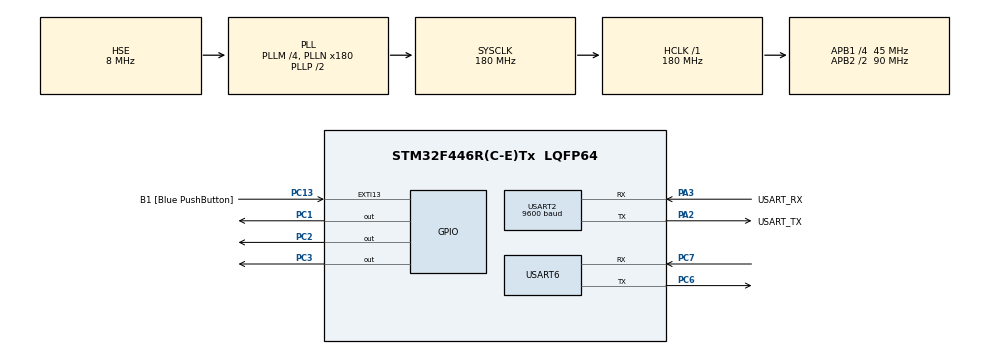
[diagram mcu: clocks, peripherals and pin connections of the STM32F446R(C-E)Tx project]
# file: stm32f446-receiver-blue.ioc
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Dma.Request0=USART6_RX
Dma.Request1=USART2_TX
Dma.USART2_TX.1.Direction=DMA_MEMORY_TO_PERIPH
Dma.USART2_TX.1.FIFOMode=DMA_FIFOMODE_DISABLE
Dma.USART2_TX.1.Instance=DMA1_Stream6
Dma.USART2_TX.1.MemDataAlignment=DMA_MDATAALIGN_BYTE
Dma.USART2_TX.1.MemInc=DMA_MINC_ENABLE
Dma.USART2_TX.1.Mode=DMA_NORMAL
Dma.USART2_TX.1.PeriphDataAlignment=DMA_PDATAALIGN_BYTE
Dma.USART2_TX.1.PeriphInc=DMA_PINC_DISABLE
Dma.USART2_TX.1.Priority=DMA_PRIORITY_LOW
Dma.USART6_RX.0.Direction=DMA_PERIPH_TO_MEMORY
Dma.USART6_RX.0.FIFOMode=DMA_FIFOMODE_DISABLE
Dma.USART6_RX.0.Instance=DMA2_Stream1
Dma.USART6_RX.0.MemDataAlignment=DMA_MDATAALIGN_BYTE
Dma.USART6_RX.0.MemInc=DMA_MINC_ENABLE
Dma.USART6_RX.0.Mode=DMA_CIRCULAR
Dma.USART6_RX.0.PeriphDataAlignment=DMA_PDATAALIGN_BYTE
Dma.USART6_RX.0.PeriphInc=DMA_PINC_DISABLE
Dma.USART6_RX.0.Priority=DMA_PRIORITY_LOW
Mcu.Family=STM32F4
Mcu.Name=STM32F446R(C-E)Tx
Mcu.Package=LQFP64
NVIC.DMA1_Stream6_IRQn=true\:0\:0\:false\:false\:true\:false\:true
NVIC.DMA2_Stream1_IRQn=true\:0\:0\:false\:false\:true\:false\:true
NVIC.PriorityGroup=NVIC_PRIORITYGROUP_0
NVIC.TIM6_DAC_IRQn=true\:0\:0\:false\:false\:true\:true\:true
NVIC.USART2_IRQn=true\:0\:0\:false\:false\:true\:true\:true
NVIC.USART6_IRQn=true\:0\:0\:false\:false\:true\:true\:true
PA13.GPIO_Label=TMS
PA13.Mode=Serial_Wire
PA13.Signal=SYS_JTMS-SWDIO
PA14.GPIO_Label=TCK
PA14.Mode=Serial_Wire
PA14.Signal=SYS_JTCK-SWCLK
PA2.GPIO_Label=USART_TX
PA2.Mode=Asynchronous
PA2.Signal=USART2_TX
PA3.GPIO_Label=USART_RX
PA3.Mode=Asynchronous
PA3.Signal=USART2_RX
PC1.PinState=GPIO_PIN_SET
PC1.Signal=GPIO_Output
PC13.GPIO_Label=B1 [Blue PushButton]
PC13.GPIO_ModeDefaultEXTI=GPIO_MODE_IT_FALLING
PC13.Signal=GPXTI13
PC14-OSC32_IN.Mode=LSE-External-Oscillator
PC14-OSC32_IN.Signal=RCC_OSC32_IN
PC15-OSC32_OUT.Mode=LSE-External-Oscillator
PC15-OSC32_OUT.Signal=RCC_OSC32_OUT
PC2.PinState=GPIO_PIN_SET
PC2.Signal=GPIO_Output
PC3.PinState=GPIO_PIN_SET
PC3.Signal=GPIO_Output
PC6.Mode=Asynchronous
PC6.Signal=USART6_TX
PC7.Mode=Asynchronous
PC7.Signal=USART6_RX
PH0-OSC_IN.Mode=HSE-External-Oscillator
PH0-OSC_IN.Signal=RCC_OSC_IN
PH1-OSC_OUT.Mode=HSE-External-Oscillator
PH1-OSC_OUT.Signal=RCC_OSC_OUT
ProjectManager.HeapSize=0x200
ProjectManager.StackSize=0x400
ProjectManager.TargetToolchain=STM32CubeIDE
RCC.48MHZClocksFreq_Value=84000000
RCC.AHBFreq_Value=180000000
RCC.APB1CLKDivider=RCC_HCLK_DIV4
RCC.APB1Freq_Value=45000000
RCC.APB1TimFreq_Value=90000000
RCC.APB2CLKDivider=RCC_HCLK_DIV2
RCC.APB2Freq_Value=90000000
RCC.APB2TimFreq_Value=180000000
RCC.CortexFreq_Value=180000000
RCC.FLatency-AdvancedSettings=FLASH_LATENCY_5
RCC.HCLKFreq_Value=180000000
RCC.HSE_VALUE=8000000
RCC.HSI_VALUE=16000000
RCC.PLLM=4
RCC.PLLN=180
RCC.PLLSourceVirtual=RCC_PLLSOURCE_HSE
RCC.SYSCLKFreq_VALUE=180000000
RCC.SYSCLKSource=RCC_SYSCLKSOURCE_PLLCLK
RCC.USBFreq_Value=180000000
RCC.VCOOutputFreq_Value=360000000
TIM6.Period=2500
TIM6.Prescaler=8400-1
USART2.BaudRate=9600
USART2.VirtualMode=VM_ASYNC
USART6.VirtualMode=VM_ASYNC
VP_TIM6_VS_ClockSourceINT.Mode=Enable_Timer
board=NUCLEO-F446RE

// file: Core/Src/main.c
/* USER CODE BEGIN Header */
/**
  ******************************************************************************
  * @file           : main.c
  * @brief          : Main program body
  ******************************************************************************
  * @attention
  *
  * <h2><center>&copy; Copyright (c) 2020 STMicroelectronics.
  * All rights reserved.</center></h2>
  *
  * This software component is licensed by ST under BSD 3-Clause license,
  * the "License"; You may not use this file except in compliance with the
  * License. You may obtain a copy of the License at:
  *                        opensource.org/licenses/BSD-3-Clause
  *
  ******************************************************************************
  */
/* USER CODE END Header */

#include "main.h"

/* USER CODE BEGIN Includes */
#include <string.h>
/* USER CODE END Includes */

/* USER CODE BEGIN PTD */
// �?ндекс комманды в массиве, пришедшего по радиоканалу
#define CommIndex 0
// Количество элементов в массиве для радиопередачи
#define RadioMaxBuff 42
// Количество элементов, приходящих с ЦКТ
#define MaxBuffOfCKT 45
// �?ндекс комманды в массиве, пришедшего c Linux
#define CommIndexLinux 42

//Массивы приема и передачи с модулемwm-sm-42
uint8_t Buff_rx[200];
uint8_t Buff_tx[200];
//CRC8
uint8_t CRC_8c=0;
//CRC16
uint16_t CRC_c=0;
// Массив приемопередачи по радиоканалу
uint8_t TX_RX_Radio[RadioMaxBuff];
// Буффер TX usart2
uint8_t BuffTx[MaxBuffOfCKT];
// Буффер RX usart2
uint8_t BuffRx[MaxBuffOfCKT];
// Счетчик количества пришедших байт с linux
uint8_t countRx=0;
// Счетчик количества пришедших байт с wm-sm-42
uint8_t countWm=0;
// Переменная для получения 1 байта, пришедшего по usartу
uint8_t data=0;
// Переменная для получения 1 байта, пришедшего с wm-sm-42
uint8_t dataWm=0;
// Маркер того, что пришли новые данные с usart
uint8_t Readflag=0;
// Маркер того, что пришли новые данные с wm-sm-42
uint8_t ReadflagWm=0;
// Последняя отправленная команда
uint8_t Com4Active=0;
// Переменные, отвечающие за режимы светодиодов
uint8_t LedMode=0;
// Для фильтрации помех с Usart
uint8_t ReadRdy=0;
// Текущее время в мс
uint32_t reciveTime=0;
// Запрет/разрешение на отправку команд
uint8_t AccessRadio=0;
// Переменная по таймауту
uint8_t RadioTimeoutRx=0;
// Задержка в мс
uint32_t Ms_Delay=0;
// Начало задержки
uint8_t Delay_start=0;

/* USER CODE END PTD */

TIM_HandleTypeDef htim6;

UART_HandleTypeDef huart2;
UART_HandleTypeDef huart6;
DMA_HandleTypeDef hdma_usart2_tx;
DMA_HandleTypeDef hdma_usart6_rx;

/* USER CODE BEGIN PV */
uint8_t buf_Reset[4]={"ATZ\r"};
uint8_t buff_ReadReg[16]={"AT+RREG=0x1D,15\r"};
uint8_t buf_paylen[18]={"AT+WREG=0x21,0x2A\r"}; // Запись в 0x22 регистр
uint8_t buf_preamlen[18]={"AT+WREG=0x20,0x08\r"}; // Запись в 0x21 регистр

uint8_t buf_1d[18]={"AT+WREG=0x1d,0x21\r"}; // Запись в 0x22 регистр
uint8_t buf_1e[18]={"AT+WREG=0x1e,0xB4\r"}; // Запись в 0x21 регистр

uint8_t buf_EchoOff[6]={"ATE=0\r"}; //выключение эха
uint8_t buf_com1[13]={"AT+DEFMODE=0\r"};
uint8_t buf_com2[38]={"AT+RF=14,868000000,11,0,4,0,8,0,1,0,0\r"};
uint8_t buf_com3_TX_mode[13]={"AT+DEFMODE=4\r"};
uint8_t buf_com3_RX_mode[13]={"AT+DEFMODE=5\r"};
uint8_t buf_com_Tx[94]={"AT+TXT=1,000000000000000000000000000000000000000000000000000000000000000000000000000000000000\r"};
/* USER CODE END PV */

void SystemClock_Config(void);
static void MX_GPIO_Init(void);
static void MX_DMA_Init(void);
static void MX_USART2_UART_Init(void);
static void MX_USART6_UART_Init(void);
static void MX_TIM6_Init(void);
/* USER CODE BEGIN PFP */

// Функция перевода массива чисел в массив Hex символов
void Data8_toMassHex(uint8_t* Data,uint8_t DataLen, uint8_t* pcBlock, uint8_t StrartMass)
{
	for(uint8_t j=0; j < DataLen; j++)
	{
		for (int8_t i = 1 + StrartMass; i >= StrartMass; i--)
		{
			pcBlock[i+j*2] = Data[j] % 16;
			if (pcBlock[i+j*2] >= 10)
			{
				pcBlock[i+j*2] += 55;
			}
			else pcBlock[i+j*2] += 48;
			Data[j] /= 16;
		}
	}
}
// Функция нахождения степени числа
int powx(int base, int exponent)
{
	int result = 1;
	for (int i=exponent; i > 0; i--)
	{
		result = result * base;
	}
	return result;
}
// Функция перевода массива символов Hex в массив чисел
void Mass_toData8(uint8_t *pcBlock,uint8_t* data8, unsigned short len) //rx_buffer,rx_in-2
{
	unsigned short sum = 0;
	int x = 0;
	for(uint8_t j=0;j<len;j++)
	{
	for (int i = 0; i < 2; i++)
	{
		if (pcBlock[2 - i - 1+j*2] > 57)
		{
			x = (pcBlock[2 - i - 1+j*2] - 55);
		}
		else
		{
			x = (pcBlock[2 - i - 1+j*2] - 48);
		}
		sum += x * powx(16, i);
	}
	data8[j]=sum;
	sum=0;
	}

}
// �?нициализация wm-sm-42
void WMSM42Init(void)
{
	//Начальная инфа
	HAL_UART_Receive_IT(&huart6, &dataWm, 1);
	HAL_Delay(2000);
	ReadflagWm=0;
	countWm=0;
	for(uint8_t i=0;i<20;i++)
		Buff_rx[i]=0;
	HAL_UART_Transmit(&huart6, buf_EchoOff, sizeof(buf_EchoOff),100); //отключаем эхо
	while(dataWm!='#');
	//HAL_Delay(100);
	ReadflagWm=0;
	countWm=0;
	for(uint8_t i=0;i<20;i++)
		Buff_rx[i]=0;
	HAL_UART_Transmit(&huart6, buf_com1, sizeof(buf_com1),100); // Спящий режим
	while(dataWm!='#');
	//HAL_Delay(100);
	ReadflagWm=0;
	countWm=0;
	for(uint8_t i=0;i<20;i++)
		Buff_rx[i]=0;
	HAL_UART_Transmit(&huart6, buf_com2, sizeof(buf_com2),100); // Настройки
	while(dataWm!='#');
	//HAL_Delay(100);
	ReadflagWm=0;
	countWm=0;
	for(uint8_t i=0;i<20;i++)
		Buff_rx[i]=0;
}
// Вход в режим передачи wm-sm-42
void WMSM42TXmode(void)
{
	HAL_UART_Transmit(&huart6, buf_com3_TX_mode, sizeof(buf_com3_TX_mode),100);
	//HAL_Delay(100);
	while(dataWm!='#');
	ReadflagWm=0;
	countWm=0;
	for(uint8_t i=0;i<20;i++)
		Buff_rx[i]=0;
}
// Вход в режим приема wm-sm-42
void WMSM42RXmode(void)
{
	HAL_UART_Transmit(&huart6, buf_com3_RX_mode, sizeof(buf_com3_RX_mode),100);
	//HAL_Delay(10);
	while(dataWm!='#');
	ReadflagWm=0;
	countWm=0;
	HAL_UART_Transmit(&huart6, buf_paylen, sizeof(buf_paylen),100); // Длина посылки
	//HAL_Delay(10);
	while(dataWm!='#');
	ReadflagWm=0;
	countWm=0;
	HAL_UART_Transmit(&huart6, buf_preamlen, sizeof(buf_preamlen),100); // Длина преамбулы
	while(dataWm!='#');
	HAL_Delay(10);
	ReadflagWm=0;
	countWm=0;
}
// Передача пакета по радиоканалу
void WMSM42TXsend(uint8_t* mass)
{
	Data8_toMassHex(mass,42,buf_com_Tx,9);
	HAL_UART_Transmit(&huart6, buf_com_Tx, sizeof(buf_com_Tx),100);
	HAL_Delay(1500);
	ReadflagWm=0;
	countWm=0;
}
// Получение полезной части из поссылки, пришедшей по радио
void WMSM42GetPacket(uint8_t* mass)
{
	Mass_toData8(&mass[6],TX_RX_Radio,42);
}

// Таблица CRC16
const unsigned short Crc16Table[256] = {
    0x0000, 0x1021, 0x2042, 0x3063, 0x4084, 0x50A5, 0x60C6, 0x70E7,
    0x8108, 0x9129, 0xA14A, 0xB16B, 0xC18C, 0xD1AD, 0xE1CE, 0xF1EF,
    0x1231, 0x0210, 0x3273, 0x2252, 0x52B5, 0x4294, 0x72F7, 0x62D6,
    0x9339, 0x8318, 0xB37B, 0xA35A, 0xD3BD, 0xC39C, 0xF3FF, 0xE3DE,
    0x2462, 0x3443, 0x0420, 0x1401, 0x64E6, 0x74C7, 0x44A4, 0x5485,
    0xA56A, 0xB54B, 0x8528, 0x9509, 0xE5EE, 0xF5CF, 0xC5AC, 0xD58D,
    0x3653, 0x2672, 0x1611, 0x0630, 0x76D7, 0x66F6, 0x5695, 0x46B4,
    0xB75B, 0xA77A, 0x9719, 0x8738, 0xF7DF, 0xE7FE, 0xD79D, 0xC7BC,
    0x48C4, 0x58E5, 0x6886, 0x78A7, 0x0840, 0x1861, 0x2802, 0x3823,
    0xC9CC, 0xD9ED, 0xE98E, 0xF9AF, 0x8948, 0x9969, 0xA90A, 0xB92B,
    0x5AF5, 0x4AD4, 0x7AB7, 0x6A96, 0x1A71, 0x0A50, 0x3A33, 0x2A12,
    0xDBFD, 0xCBDC, 0xFBBF, 0xEB9E, 0x9B79, 0x8B58, 0xBB3B, 0xAB1A,
    0x6CA6, 0x7C87, 0x4CE4, 0x5CC5, 0x2C22, 0x3C03, 0x0C60, 0x1C41,
    0xEDAE, 0xFD8F, 0xCDEC, 0xDDCD, 0xAD2A, 0xBD0B, 0x8D68, 0x9D49,
    0x7E97, 0x6EB6, 0x5ED5, 0x4EF4, 0x3E13, 0x2E32, 0x1E51, 0x0E70,
    0xFF9F, 0xEFBE, 0xDFDD, 0xCFFC, 0xBF1B, 0xAF3A, 0x9F59, 0x8F78,
    0x9188, 0x81A9, 0xB1CA, 0xA1EB, 0xD10C, 0xC12D, 0xF14E, 0xE16F,
    0x1080, 0x00A1, 0x30C2, 0x20E3, 0x5004, 0x4025, 0x7046, 0x6067,
    0x83B9, 0x9398, 0xA3FB, 0xB3DA, 0xC33D, 0xD31C, 0xE37F, 0xF35E,
    0x02B1, 0x1290, 0x22F3, 0x32D2, 0x4235, 0x5214, 0x6277, 0x7256,
    0xB5EA, 0xA5CB, 0x95A8, 0x8589, 0xF56E, 0xE54F, 0xD52C, 0xC50D,
    0x34E2, 0x24C3, 0x14A0, 0x0481, 0x7466, 0x6447, 0x5424, 0x4405,
    0xA7DB, 0xB7FA, 0x8799, 0x97B8, 0xE75F, 0xF77E, 0xC71D, 0xD73C,
    0x26D3, 0x36F2, 0x0691, 0x16B0, 0x6657, 0x7676, 0x4615, 0x5634,
    0xD94C, 0xC96D, 0xF90E, 0xE92F, 0x99C8, 0x89E9, 0xB98A, 0xA9AB,
    0x5844, 0x4865, 0x7806, 0x6827, 0x18C0, 0x08E1, 0x3882, 0x28A3,
    0xCB7D, 0xDB5C, 0xEB3F, 0xFB1E, 0x8BF9, 0x9BD8, 0xABBB, 0xBB9A,
    0x4A75, 0x5A54, 0x6A37, 0x7A16, 0x0AF1, 0x1AD0, 0x2AB3, 0x3A92,
    0xFD2E, 0xED0F, 0xDD6C, 0xCD4D, 0xBDAA, 0xAD8B, 0x9DE8, 0x8DC9,
    0x7C26, 0x6C07, 0x5C64, 0x4C45, 0x3CA2, 0x2C83, 0x1CE0, 0x0CC1,
    0xEF1F, 0xFF3E, 0xCF5D, 0xDF7C, 0xAF9B, 0xBFBA, 0x8FD9, 0x9FF8,
    0x6E17, 0x7E36, 0x4E55, 0x5E74, 0x2E93, 0x3EB2, 0x0ED1, 0x1EF0
};
// Расчет CRC16
unsigned short Crc16(unsigned char * pcBlock, unsigned short len)
{
    unsigned short crc = 0xFFFF;

    while (len--)
        crc = (crc << 8) ^ Crc16Table[(crc >> 8) ^ *pcBlock++];

    return crc;
}

// Таблица CRC8
const unsigned char Crc8Table[256] = {
    0x00, 0x31, 0x62, 0x53, 0xC4, 0xF5, 0xA6, 0x97,
    0xB9, 0x88, 0xDB, 0xEA, 0x7D, 0x4C, 0x1F, 0x2E,
    0x43, 0x72, 0x21, 0x10, 0x87, 0xB6, 0xE5, 0xD4,
    0xFA, 0xCB, 0x98, 0xA9, 0x3E, 0x0F, 0x5C, 0x6D,
    0x86, 0xB7, 0xE4, 0xD5, 0x42, 0x73, 0x20, 0x11,
    0x3F, 0x0E, 0x5D, 0x6C, 0xFB, 0xCA, 0x99, 0xA8,
    0xC5, 0xF4, 0xA7, 0x96, 0x01, 0x30, 0x63, 0x52,
    0x7C, 0x4D, 0x1E, 0x2F, 0xB8, 0x89, 0xDA, 0xEB,
    0x3D, 0x0C, 0x5F, 0x6E, 0xF9, 0xC8, 0x9B, 0xAA,
    0x84, 0xB5, 0xE6, 0xD7, 0x40, 0x71, 0x22, 0x13,
    0x7E, 0x4F, 0x1C, 0x2D, 0xBA, 0x8B, 0xD8, 0xE9,
    0xC7, 0xF6, 0xA5, 0x94, 0x03, 0x32, 0x61, 0x50,
    0xBB, 0x8A, 0xD9, 0xE8, 0x7F, 0x4E, 0x1D, 0x2C,
    0x02, 0x33, 0x60, 0x51, 0xC6, 0xF7, 0xA4, 0x95,
    0xF8, 0xC9, 0x9A, 0xAB, 0x3C, 0x0D, 0x5E, 0x6F,
    0x41, 0x70, 0x23, 0x12, 0x85, 0xB4, 0xE7, 0xD6,
    0x7A, 0x4B, 0x18, 0x29, 0xBE, 0x8F, 0xDC, 0xED,
    0xC3, 0xF2, 0xA1, 0x90, 0x07, 0x36, 0x65, 0x54,
    0x39, 0x08, 0x5B, 0x6A, 0xFD, 0xCC, 0x9F, 0xAE,
    0x80, 0xB1, 0xE2, 0xD3, 0x44, 0x75, 0x26, 0x17,
    0xFC, 0xCD, 0x9E, 0xAF, 0x38, 0x09, 0x5A, 0x6B,
    0x45, 0x74, 0x27, 0x16, 0x81, 0xB0, 0xE3, 0xD2,
    0xBF, 0x8E, 0xDD, 0xEC, 0x7B, 0x4A, 0x19, 0x28,
    0x06, 0x37, 0x64, 0x55, 0xC2, 0xF3, 0xA0, 0x91,
    0x47, 0x76, 0x25, 0x14, 0x83, 0xB2, 0xE1, 0xD0,
    0xFE, 0xCF, 0x9C, 0xAD, 0x3A, 0x0B, 0x58, 0x69,
    0x04, 0x35, 0x66, 0x57, 0xC0, 0xF1, 0xA2, 0x93,
    0xBD, 0x8C, 0xDF, 0xEE, 0x79, 0x48, 0x1B, 0x2A,
    0xC1, 0xF0, 0xA3, 0x92, 0x05, 0x34, 0x67, 0x56,
    0x78, 0x49, 0x1A, 0x2B, 0xBC, 0x8D, 0xDE, 0xEF,
    0x82, 0xB3, 0xE0, 0xD1, 0x46, 0x77, 0x24, 0x15,
    0x3B, 0x0A, 0x59, 0x68, 0xFF, 0xCE, 0x9D, 0xAC
};
// Расчет CRC8
unsigned char Crc8(unsigned char *pcBlock, unsigned char len)
{
    unsigned char crc = 0xFF;

    while (len--)
        crc = Crc8Table[crc ^ *pcBlock++];

    return crc;
}

// Функция передачи по радиоканалу
void CommandToRadio(uint8_t command)
{
	// Вход в режим передачи
	WMSM42TXmode();
	// Обнуляем массив
	for(uint8_t i=0;i<RadioMaxBuff;i++)
	{
		TX_RX_Radio[i]=0;
	}
	if(command==3)
	{
		// Заносим задержку в секундах
		TX_RX_Radio[1]=BuffRx[43];
	}
    // Заносим команду
	TX_RX_Radio[CommIndex]=command;
	//Подсчет CRC16
	CRC_c=Crc16(TX_RX_Radio,RadioMaxBuff-2);
	TX_RX_Radio[RadioMaxBuff-2]=(uint8_t)(CRC_c>>8);
	TX_RX_Radio[RadioMaxBuff-1]=(uint8_t)CRC_c;
    // Отправка посылки
	WMSM42TXsend(TX_RX_Radio);
}
// Отправка команды на Linux
void Command_to_Linux(uint8_t cmd)
{
	for(uint8_t i=0;i<MaxBuffOfCKT;i++)
		BuffTx[i]=0;
	for(uint8_t i=0;i<MaxBuffOfCKT-6;i++)
		BuffTx[i+4]=TX_RX_Radio[i+1];
	BuffTx[0]=0x7C;
	BuffTx[1]=0x6E;
	BuffTx[2]=0xA1;
	BuffTx[3]=0x2C;
	BuffTx[42]=cmd;
	BuffTx[44]=Crc8(BuffTx,MaxBuffOfCKT-1);
	HAL_UART_Transmit(&huart2, BuffTx, MaxBuffOfCKT,100);
}
// Отправка 4 команды по радио
void Command4_send(void)
{
	if(Com4Active==1) // Если разрешена 4 команда
	{
		// Посылка принята успешно, отправляем запрос на данные, если нет команд с Linux
		if(Readflag!=1)
		{
			LedMode=1; // Режим мигания - посылка передается
			CommandToRadio(4);
			// Ожидаем команду
			WMSM42RXmode();
			// Запуск таймера для отслеживания таймаута
			Delay_start=1;
			Ms_Delay=0;
			AccessRadio=1;
		} else AccessRadio=0;
	} else AccessRadio=0;
}
/* USER CODE END PFP */

int main(void)
{

  /* MCU Configuration--------------------------------------------------------*/

  /* Reset of all peripherals, Initializes the Flash interface and the Systick. */
  HAL_Init();

  /* Configure the system clock */
  SystemClock_Config();

  /* Initialize all configured peripherals */
  MX_GPIO_Init();
  MX_DMA_Init();
  MX_USART2_UART_Init();
  MX_USART6_UART_Init();
  MX_TIM6_Init();
  /* USER CODE BEGIN 2 */
  // �?ндикация включения УС�? ПРД
  HAL_GPIO_WritePin(GPIOC, GPIO_PIN_1, GPIO_PIN_RESET);
  HAL_Delay(300);
  HAL_GPIO_WritePin(GPIOC, GPIO_PIN_2, GPIO_PIN_RESET);
  HAL_Delay(300);
  HAL_GPIO_WritePin(GPIOC, GPIO_PIN_3, GPIO_PIN_RESET);
  HAL_Delay(300);
  // �?нициализация wm-sm-42
  WMSM42Init();
  // Запуск приема команд с Linux
  HAL_UART_Receive_IT(&huart2, &data, 1);
  // Запуск таймера для работы светодиода
  HAL_TIM_Base_Start_IT(&htim6);

  /* USER CODE END 2 */

  /* Infinite loop */
  /* USER CODE BEGIN WHILE */
  while (1)
  {
		// Фильтрация помех 1 разъема
		if((HAL_GetTick()-reciveTime >200) && ReadRdy) // Если пришел 1 байт и в течении секунды больше ничего не пришло, считаем, что мы поймали помеху
		{
			ReadRdy=0;
			HAL_UART_Abort(&huart2);
			HAL_UART_Receive_IT(&huart2, &data, 1);
			countRx=0;
		}
		// Пришла какая-то посылка по linux
		if(Readflag==1 && AccessRadio==0)
		{
			Readflag=0;
			HAL_GPIO_WritePin(GPIOC, GPIO_PIN_3, GPIO_PIN_RESET);
			CRC_8c=BuffRx[MaxBuffOfCKT-1];
			if(CRC_8c==Crc8(BuffRx,MaxBuffOfCKT-1)) // если CRC совпало
			{
				switch(BuffRx[CommIndexLinux])
				{
					case 1:
					LedMode=1; // Режим мигания - посылка передается
					CommandToRadio(1);  // Команда начала записи: Создаем новый файл и начинаем прием данных
					// Ожидаем команду
					WMSM42RXmode();
					// Запуск таймера для отслеживания таймаута
					Delay_start=1;
					Ms_Delay=0;
					// Занимаем радиоканал
					AccessRadio=1;
					break;
					case 2:
					LedMode=1; // Режим мигания - посылка передается
					CommandToRadio(2); // Команда открытия клапана
					// Ожидаем команду
					WMSM42RXmode();
					// Запуск таймера для отслеживания таймаута
					Delay_start=1;
					Ms_Delay=0;
					// Занимаем радиоканал
					AccessRadio=1;
					break;
					case 3:
					LedMode=1; // Режим мигания - посылка передается
					CommandToRadio(3); // Команда запуска двигателя
					// Ожидаем команду
					WMSM42RXmode();
					// Запуск таймера для отслеживания таймаута
					Delay_start=1;
					Ms_Delay=0;
					// Занимаем радиоканал
					AccessRadio=1;
					break;
					case 4:  // Внутренняя команда (запрос данных с ЦКТ)
					break;
					case 5:
					LedMode=1; // Режим мигания - посылка передается
					CommandToRadio(5); // Команда закрытия файла на SD и запрет записи на SD
					// Ожидаем команду
					WMSM42RXmode();
					// Запуск таймера для отслеживания таймаута
					Delay_start=1;
					Ms_Delay=0;
					// Занимаем радиоканал
					AccessRadio=1;
					break;
					case 6:
					LedMode=1; // Режим мигания - посылка передается
					CommandToRadio(6); // Команда закрытия клапана
					// Ожидаем команду
					WMSM42RXmode();
					// Запуск таймера для отслеживания таймаута
					Delay_start=1;
					Ms_Delay=0;
					// Занимаем радиоканал
					AccessRadio=1;
					break;
					case 7: // Подача еденицы на оптопару на закрытие двигателя
					LedMode=1; // Режим мигания - посылка передается
					CommandToRadio(7); // Команда Подача еденицы на оптопару на закрытие двигателя
					// Ожидаем команду
					WMSM42RXmode();
					// Запуск таймера для отслеживания таймаута
					Delay_start=1;
					Ms_Delay=0;
					// Занимаем радиоканал
					AccessRadio=1;
					break;
					case 8: // Снятие еденицы с оптопары на закрытие двигателя
					LedMode=1; // Режим мигания - посылка передается
					CommandToRadio(8); // Команда Снятие еденицы с оптопары на закрытие двигателя
					// Ожидаем команду
					WMSM42RXmode();
					// Запуск таймера для отслеживания таймаута
					Delay_start=1;
					Ms_Delay=0;
					// Занимаем радиоканал
					AccessRadio=1;
					break;
				}
			} else // Если CRC8 не совпало продолжаем отправлять 4 команду, если она отправлялась до этого
			{
				if(Com4Active==1) // Если мы попадаем сюда во время приема данных
				{
					LedMode=1; // Режим мигания - посылка передается
					CommandToRadio(4);
					// Ожидаем команду
					WMSM42RXmode();
					// Запуск таймера для отслеживания таймаута
					Delay_start=1;
					Ms_Delay=0;
					// Занимаем радиоканал
					AccessRadio=1;
				}
			}
			// Продолжаем ожидать посылку с Linux
			countRx=0;
			HAL_UART_Abort(&huart2);
			HAL_UART_Receive_IT(&huart2, &data, 1);
		}

		// Прерывание по приему по радиоканалу
		if(ReadflagWm==1)
		{
			ReadflagWm=0;
			//Раскрываем посылку
			WMSM42GetPacket(Buff_rx);
			// Считаем CRC
			CRC_c=(TX_RX_Radio[RadioMaxBuff-2]<<8)+TX_RX_Radio[RadioMaxBuff-1];

			if(CRC_c==Crc16(TX_RX_Radio, RadioMaxBuff-2)) // Если CRC16 совпало
			{
				// Останавливаем таймер
				Delay_start=0;
				Ms_Delay=0;
				switch(TX_RX_Radio[CommIndex])
				{
					case 1:   // Команда начала записи: Создаем файл
					LedMode=0; // посылка принята (просто зажигаем светодиод)
					HAL_GPIO_WritePin(GPIOC, GPIO_PIN_1, GPIO_PIN_RESET);
					HAL_GPIO_WritePin(GPIOC, GPIO_PIN_2, GPIO_PIN_RESET);
					// Посылка принята успешно, отправляем запрос на данные, если нет команд с Linux
					if(Readflag!=1)
					{
						LedMode=1; // Режим мигания - посылка передается
						Com4Active=1; // 4 команда будет посылаться всегда
						CommandToRadio(4);
						// Ожидаем команду
						WMSM42RXmode();
						// Запуск таймера для отслеживания таймаута
						Delay_start=1;
						Ms_Delay=0;
						AccessRadio=1;
					} else AccessRadio=0;
					break;
					case 2:   // Команда открытия клапана
					LedMode=0; // посылка принята (просто зажигаем светодиод)
					HAL_GPIO_WritePin(GPIOC, GPIO_PIN_1, GPIO_PIN_RESET);
					HAL_GPIO_WritePin(GPIOC, GPIO_PIN_2, GPIO_PIN_RESET);
					Command_to_Linux(2);
					Command4_send();
					break;
					case 3:   // Команда запуска двигателя
					LedMode=0; // посылка принята (просто зажигаем светодиод)
					HAL_GPIO_WritePin(GPIOC, GPIO_PIN_1, GPIO_PIN_RESET);
					HAL_GPIO_WritePin(GPIOC, GPIO_PIN_2, GPIO_PIN_RESET);
					Command_to_Linux(3);
					Command4_send();
					break;
					case 4:   // Команда запроса данных с ЦКТ
					LedMode=0; // посылка принята (просто зажигаем светодиод)
					HAL_GPIO_WritePin(GPIOC, GPIO_PIN_1, GPIO_PIN_RESET);
					HAL_GPIO_WritePin(GPIOC, GPIO_PIN_2, GPIO_PIN_RESET);
					// Пересылаем принятый пакет на linux
					Command_to_Linux(1);
					// Посылка принята успешно, отправляем запрос на данные
					if(Com4Active==1 && Readflag!=1  ) // Если нет запрета на 4 команду, то отправляем ее
					{
						LedMode=1; // Режим мигания - посылка передается
						CommandToRadio(4);
						// Ожидаем команду
						WMSM42RXmode();
						// Запуск таймера для отслеживания таймаута
						Delay_start=1;
						Ms_Delay=0;
						AccessRadio=1;
					} else AccessRadio=0;
					// радиоканал не занят
					break;
					case 5:   // Команда закрытия файла на SD и запрет записи на SD
					LedMode=0; // посылка принята (просто зажигаем светодиод)
					HAL_GPIO_WritePin(GPIOC, GPIO_PIN_1, GPIO_PIN_RESET);
					HAL_GPIO_WritePin(GPIOC, GPIO_PIN_2, GPIO_PIN_RESET);
					Com4Active=0; // запрещаем отправку 4 команды
					Command_to_Linux(5);
					// радиоканал не занят
					AccessRadio=0;
					break;
					case 6:  // Команда закрытия клапана
					LedMode=0; // посылка принята (просто зажигаем светодиод)
					HAL_GPIO_WritePin(GPIOC, GPIO_PIN_1, GPIO_PIN_RESET);
					HAL_GPIO_WritePin(GPIOC, GPIO_PIN_2, GPIO_PIN_RESET);
					Command_to_Linux(6);
					Command4_send();
					break;
					case 7: //Подача еденицы на оптопару на закрытие двигателя
					LedMode=0; // посылка принята (просто зажигаем светодиод)
					HAL_GPIO_WritePin(GPIOC, GPIO_PIN_1, GPIO_PIN_RESET);
					HAL_GPIO_WritePin(GPIOC, GPIO_PIN_2, GPIO_PIN_RESET);
					Command_to_Linux(7);
					Command4_send();
					break;
					case 8: // Снятие еденицы с оптопары на закрытие двигателя
					LedMode=0; // посылка принята (просто зажигаем светодиод)
					HAL_GPIO_WritePin(GPIOC, GPIO_PIN_1, GPIO_PIN_RESET);
					HAL_GPIO_WritePin(GPIOC, GPIO_PIN_2, GPIO_PIN_RESET);
					Command_to_Linux(8);
					Command4_send();
					break;
				}
			}
		}

	// Если радиосигнал не был принят (таймаут)
	if(RadioTimeoutRx==1)
	{
		// Останавливаем таймер
		Delay_start=0;
		Ms_Delay=0;
		RadioTimeoutRx=0;
		LedMode=0; // посылка пропущена (тушим светодиод)
		HAL_GPIO_WritePin(GPIOC, GPIO_PIN_1, GPIO_PIN_SET);
		HAL_GPIO_WritePin(GPIOC, GPIO_PIN_2, GPIO_PIN_SET);
		// Отправляем еще один запрос на данные, иначе просто ожидаем команд с linux
		if(Com4Active==1 && Readflag!= 1)
		{
			LedMode=1; // Режим мигания - посылка передается
			CommandToRadio(4); // Команда запроса данных
			// Ожидаем команду
			WMSM42RXmode();
			// Запуск таймера для отслеживания таймаута
			Delay_start=1;
			Ms_Delay=0;
			AccessRadio=1 ;
		} else   AccessRadio=0;
	}

    /* USER CODE END WHILE */

  }
}

void SystemClock_Config(void)
{
  RCC_OscInitTypeDef RCC_OscInitStruct = {0};
  RCC_ClkInitTypeDef RCC_ClkInitStruct = {0};

  /** Configure the main internal regulator output voltage
  */
  __HAL_RCC_PWR_CLK_ENABLE();
  __HAL_PWR_VOLTAGESCALING_CONFIG(PWR_REGULATOR_VOLTAGE_SCALE1);
  /** Initializes the CPU, AHB and APB busses clocks
  */
  RCC_OscInitStruct.OscillatorType = RCC_OSCILLATORTYPE_HSE;
  RCC_OscInitStruct.HSEState = RCC_HSE_ON;
  RCC_OscInitStruct.PLL.PLLState = RCC_PLL_ON;
  RCC_OscInitStruct.PLL.PLLSource = RCC_PLLSOURCE_HSE;
  RCC_OscInitStruct.PLL.PLLM = 4;
  RCC_OscInitStruct.PLL.PLLN = 180;
  RCC_OscInitStruct.PLL.PLLP = RCC_PLLP_DIV2;
  RCC_OscInitStruct.PLL.PLLQ = 2;
  RCC_OscInitStruct.PLL.PLLR = 2;
  if (HAL_RCC_OscConfig(&RCC_OscInitStruct) != HAL_OK)
  {
    Error_Handler();
  }
  /** Activate the Over-Drive mode
  */
  if (HAL_PWREx_EnableOverDrive() != HAL_OK)
  {
    Error_Handler();
  }
  /** Initializes the CPU, AHB and APB busses clocks
  */
  RCC_ClkInitStruct.ClockType = RCC_CLOCKTYPE_HCLK|RCC_CLOCKTYPE_SYSCLK
                              |RCC_CLOCKTYPE_PCLK1|RCC_CLOCKTYPE_PCLK2;
  RCC_ClkInitStruct.SYSCLKSource = RCC_SYSCLKSOURCE_PLLCLK;
  RCC_ClkInitStruct.AHBCLKDivider = RCC_SYSCLK_DIV1;
  RCC_ClkInitStruct.APB1CLKDivider = RCC_HCLK_DIV4;
  RCC_ClkInitStruct.APB2CLKDivider = RCC_HCLK_DIV2;

  if (HAL_RCC_ClockConfig(&RCC_ClkInitStruct, FLASH_LATENCY_5) != HAL_OK)
  {
    Error_Handler();
  }
}

static void MX_TIM6_Init(void)
{

  TIM_MasterConfigTypeDef sMasterConfig = {0};

  htim6.Instance = TIM6;
  htim6.Init.Prescaler = 8400-1;
  htim6.Init.CounterMode = TIM_COUNTERMODE_UP;
  htim6.Init.Period = 2500;
  htim6.Init.AutoReloadPreload = TIM_AUTORELOAD_PRELOAD_DISABLE;
  if (HAL_TIM_Base_Init(&htim6) != HAL_OK)
  {
    Error_Handler();
  }
  sMasterConfig.MasterOutputTrigger = TIM_TRGO_RESET;
  sMasterConfig.MasterSlaveMode = TIM_MASTERSLAVEMODE_DISABLE;
  if (HAL_TIMEx_MasterConfigSynchronization(&htim6, &sMasterConfig) != HAL_OK)
  {
    Error_Handler();
  }

}

static void MX_USART2_UART_Init(void)
{

  huart2.Instance = USART2;
  huart2.Init.BaudRate = 9600;
  huart2.Init.WordLength = UART_WORDLENGTH_8B;
  huart2.Init.StopBits = UART_STOPBITS_1;
  huart2.Init.Parity = UART_PARITY_NONE;
  huart2.Init.Mode = UART_MODE_TX_RX;
  huart2.Init.HwFlowCtl = UART_HWCONTROL_NONE;
  huart2.Init.OverSampling = UART_OVERSAMPLING_16;
  if (HAL_UART_Init(&huart2) != HAL_OK)
  {
    Error_Handler();
  }

}

static void MX_USART6_UART_Init(void)
{

  huart6.Instance = USART6;
  huart6.Init.BaudRate = 115200;
  huart6.Init.WordLength = UART_WORDLENGTH_8B;
  huart6.Init.StopBits = UART_STOPBITS_1;
  huart6.Init.Parity = UART_PARITY_NONE;
  huart6.Init.Mode = UART_MODE_TX_RX;
  huart6.Init.HwFlowCtl = UART_HWCONTROL_NONE;
  huart6.Init.OverSampling = UART_OVERSAMPLING_16;
  if (HAL_UART_Init(&huart6) != HAL_OK)
  {
    Error_Handler();
  }

}

static void MX_DMA_Init(void)
{

  /* DMA controller clock enable */
  __HAL_RCC_DMA2_CLK_ENABLE();
  __HAL_RCC_DMA1_CLK_ENABLE();

  /* DMA interrupt init */
  /* DMA1_Stream6_IRQn interrupt configuration */
  HAL_NVIC_SetPriority(DMA1_Stream6_IRQn, 0, 0);
  HAL_NVIC_EnableIRQ(DMA1_Stream6_IRQn);
  /* DMA2_Stream1_IRQn interrupt configuration */
  HAL_NVIC_SetPriority(DMA2_Stream1_IRQn, 0, 0);
  HAL_NVIC_EnableIRQ(DMA2_Stream1_IRQn);

}

static void MX_GPIO_Init(void)
{
  GPIO_InitTypeDef GPIO_InitStruct = {0};

  /* GPIO Ports Clock Enable */
  __HAL_RCC_GPIOC_CLK_ENABLE();
  __HAL_RCC_GPIOH_CLK_ENABLE();
  __HAL_RCC_GPIOA_CLK_ENABLE();

  /*Configure GPIO pin Output Level */
  HAL_GPIO_WritePin(GPIOC, GPIO_PIN_1|GPIO_PIN_2|GPIO_PIN_3, GPIO_PIN_SET);

  /*Configure GPIO pin : B1_Pin */
  GPIO_InitStruct.Pin = B1_Pin;
  GPIO_InitStruct.Mode = GPIO_MODE_IT_FALLING;
  GPIO_InitStruct.Pull = GPIO_NOPULL;
  HAL_GPIO_Init(B1_GPIO_Port, &GPIO_InitStruct);

  /*Configure GPIO pins : PC1 PC2 PC3 */
  GPIO_InitStruct.Pin = GPIO_PIN_1|GPIO_PIN_2|GPIO_PIN_3;
  GPIO_InitStruct.Mode = GPIO_MODE_OUTPUT_PP;
  GPIO_InitStruct.Pull = GPIO_NOPULL;
  GPIO_InitStruct.Speed = GPIO_SPEED_FREQ_LOW;
  HAL_GPIO_Init(GPIOC, &GPIO_InitStruct);

}

/* USER CODE BEGIN 4 */
void HAL_UART_RxCpltCallback(UART_HandleTypeDef *huart)
{
	if(huart==&huart6)
	{
		Buff_rx[countWm]=dataWm;
		if(Buff_rx[countWm]=='\n')
		{
			if(Buff_rx[0]=='O' && Buff_rx[1]=='K' )
			{
				countWm=0;
				ReadflagWm=0;
			} else ReadflagWm=1;
		}
		else countWm++;
		HAL_UART_Receive_IT(&huart6, &dataWm, 1);
	}

	if(huart == &huart2)
	{
		ReadRdy=1;
		reciveTime=HAL_GetTick();
		// Заносим пришедший байт в массив
		BuffRx[countRx]=data;
		if(countRx==MaxBuffOfCKT-1)
		{
			HAL_GPIO_WritePin(GPIOC, GPIO_PIN_3, GPIO_PIN_SET);
			// Устанавливаем флаг того, что посылка принята
			Readflag=1;
		}
		else countRx++;
		HAL_UART_Receive_IT(&huart2, &data, 1);
	}
}
// Обработчик прерываний таймера
void HAL_TIM_PeriodElapsedCallback(TIM_HandleTypeDef *htim)
{
	if(htim==&htim6)  // мигание светодиодов
	{
		if(LedMode==1) // 1 светодиод
		{
			HAL_GPIO_TogglePin(GPIOC, GPIO_PIN_1);
		}
	}
}
// Прерывание по системному таймеру
void SysTick_Handler(void)
{
  /* USER CODE BEGIN SysTick_IRQn 0 */
	if(Delay_start==1)
	{
		if(Ms_Delay<5000)
		{
			Ms_Delay++;
		}
		else
		{
			Delay_start=0;
			Ms_Delay=0;
			RadioTimeoutRx=1; // произошло прерывание
		}
	}
  /* USER CODE END SysTick_IRQn 0 */
	HAL_IncTick();
  /* USER CODE BEGIN SysTick_IRQn 1 */

  /* USER CODE END SysTick_IRQn 1 */
}
/* USER CODE END 4 */

void Error_Handler(void)
{
}

/************************ (C) COPYRIGHT STMicroelectronics *****END OF FILE****/
